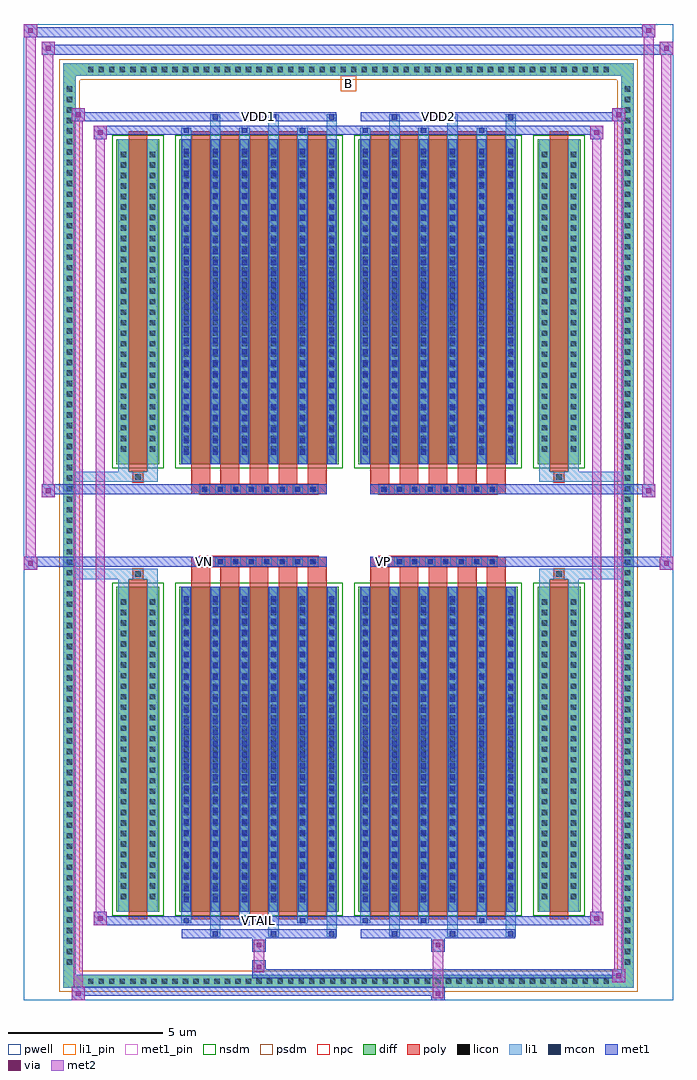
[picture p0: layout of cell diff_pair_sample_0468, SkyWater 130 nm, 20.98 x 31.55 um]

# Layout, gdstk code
import gdstk
lib = gdstk.Library(unit=1e-6, precision=5e-09)
def R(c, l, rs):  # rectangles x0, y0, x1, y1
    for r in rs: c.add(gdstk.rectangle(r[:2], r[2:], *l))
def A(c, l, x, y, w, h, nx, ny, dx, dy):  # array of equal rectangles
    R(c, l, [(x+i*dx, y+j*dy, x+i*dx+w, y+j*dy+h) for i in range(nx) for j in range(ny)])
def P(c, l, *ps):  # polygons
    for p in ps: c.add(gdstk.Polygon(p, *l))
pwell = (64, 44)
diff = (65, 20)
poly = (66, 20)
licon = (66, 44)
li1_pin = (67, 16)
li1 = (67, 20)
mcon = (67, 44)
met1_pin = (68, 16)
met1 = (68, 20)
via = (68, 44)
met2 = (69, 20)
nsdm = (93, 44)
psdm = (94, 20)
npc = (95, 20)

diff_pair_sample_0468 = lib.new_cell('diff_pair_sample_0468')
R(diff_pair_sample_0468, pwell, [(-10.49,-15.34,10.49,16.21), (-7.81,-13.53,-0.01,-0.805), (0.01,-13.53,7.81,-0.805), (-7.81,0.805,-0.01,13.53), (0.01,0.805,7.81,13.53)])
A(diff_pair_sample_0468, diff, -8.535, -14.94, 0.41, 0.41, 50, 2, 0.34, 29.47)
A(diff_pair_sample_0468, diff, -9.22, -14.315, 0.41, 0.41, 1, 84, 0, 0.34)
A(diff_pair_sample_0468, diff, 8.81, -14.315, 0.41, 0.41, 1, 84, 0, 0.34)
R(diff_pair_sample_0468, diff, [(-8.535,-14.94,8.535,-14.53), (-9.22,-14.315,-8.81,14.315), (8.81,-14.315,9.22,14.315), (-7.5,-12.485,-6.11,-1.985), (-5.47,-12.485,-0.32,-1.985), (0.32,-12.485,5.47,-1.985), (6.11,-12.485,7.5,-1.985), (-7.5,1.985,-6.11,12.485), (-5.47,1.985,-0.32,12.485), (0.32,1.985,5.47,12.485), (6.11,1.985,7.5,12.485), (-8.535,14.53,8.535,14.94)])
P(diff_pair_sample_0468, diff, [(9.22,14.94),(-9.22,14.94),(-9.22,-14.53),(-8.81,-14.53),(-8.81,14.53),(8.81,14.53),(8.81,-14.53),(-8.81,-14.53),(-9.22,-14.53),(-9.22,-14.94),(9.22,-14.94)])
A(diff_pair_sample_0468, poly, -5.08, -12.735, 0.61, 11, 5, 2, 0.94, 14.47)
A(diff_pair_sample_0468, poly, 0.71, -12.735, 0.61, 11, 5, 2, 0.94, 14.47)
A(diff_pair_sample_0468, poly, -5.08, -1.735, 0.61, 0.4, 5, 2, 0.94, 3.07)
A(diff_pair_sample_0468, poly, 0.71, -1.735, 0.61, 0.4, 5, 2, 0.94, 3.07)
A(diff_pair_sample_0468, poly, -4.81, -1.335, 0.33, 0.33, 8, 2, 0.5, 2.34)
A(diff_pair_sample_0468, poly, 0.98, -1.335, 0.33, 0.33, 8, 2, 0.5, 2.34)
R(diff_pair_sample_0468, poly, [(-7.11,-12.735,-6.5,-1.735), (6.5,-12.735,7.11,-1.735), (-6.97,-1.735,-6.64,-1.405), (-6.97,-1.735,-6.64,-1.405), (6.64,-1.735,6.97,-1.405), (6.64,-1.735,6.97,-1.405), (-5.08,-1.335,-0.71,-1.005), (0.71,-1.335,5.08,-1.005), (-5.08,1.005,-0.71,1.335), (0.71,1.005,5.08,1.335), (-6.97,1.405,-6.64,1.735), (-6.97,1.405,-6.64,1.735), (6.64,1.405,6.97,1.735), (6.64,1.405,6.97,1.735), (-7.11,1.735,-6.5,12.735), (6.5,1.735,7.11,12.735)])
A(diff_pair_sample_0468, licon, -8.415, -14.82, 0.17, 0.17, 50, 2, 0.34, 29.47)
A(diff_pair_sample_0468, licon, -9.1, -14.195, 0.17, 0.17, 1, 84, 0, 0.34)
A(diff_pair_sample_0468, licon, 8.93, -14.195, 0.17, 0.17, 1, 84, 0, 0.34)
A(diff_pair_sample_0468, licon, -7.36, -12.08, 0.17, 0.17, 1, 29, 0, 0.34)
A(diff_pair_sample_0468, licon, -6.42, -12.08, 0.17, 0.17, 1, 29, 0, 0.34)
A(diff_pair_sample_0468, licon, -5.33, -12.08, 0.17, 0.17, 6, 29, 0.94, 0.34)
A(diff_pair_sample_0468, licon, 0.46, -12.08, 0.17, 0.17, 6, 29, 0.94, 0.34)
A(diff_pair_sample_0468, licon, 6.25, -12.08, 0.17, 0.17, 1, 29, 0, 0.34)
A(diff_pair_sample_0468, licon, 7.19, -12.08, 0.17, 0.17, 1, 29, 0, 0.34)
A(diff_pair_sample_0468, licon, -4.73, -1.255, 0.17, 0.17, 8, 2, 0.5, 2.34)
A(diff_pair_sample_0468, licon, 1.06, -1.255, 0.17, 0.17, 8, 2, 0.5, 2.34)
A(diff_pair_sample_0468, licon, -7.36, 2.39, 0.17, 0.17, 1, 29, 0, 0.34)
A(diff_pair_sample_0468, licon, -6.42, 2.39, 0.17, 0.17, 1, 29, 0, 0.34)
A(diff_pair_sample_0468, licon, -5.33, 2.39, 0.17, 0.17, 6, 29, 0.94, 0.34)
A(diff_pair_sample_0468, licon, 0.46, 2.39, 0.17, 0.17, 6, 29, 0.94, 0.34)
A(diff_pair_sample_0468, licon, 6.25, 2.39, 0.17, 0.17, 1, 29, 0, 0.34)
A(diff_pair_sample_0468, licon, 7.19, 2.39, 0.17, 0.17, 1, 29, 0, 0.34)
R(diff_pair_sample_0468, licon, [(-6.89,-1.655,-6.72,-1.485), (6.72,-1.655,6.89,-1.485), (-6.89,1.485,-6.72,1.655), (6.72,1.485,6.89,1.655)])
R(diff_pair_sample_0468, li1_pin, [(-0.25,14.03,0.25,14.53)])
A(diff_pair_sample_0468, li1, -8.495, -14.9, 0.33, 0.33, 50, 2, 0.34, 29.47)
A(diff_pair_sample_0468, li1, -9.18, -14.275, 0.33, 0.33, 1, 84, 0, 0.34)
A(diff_pair_sample_0468, li1, 8.85, -14.275, 0.33, 0.33, 1, 84, 0, 0.34)
A(diff_pair_sample_0468, li1, -4.47, -13.29, 0.33, 0.805, 3, 2, 1.88, 25.775)
A(diff_pair_sample_0468, li1, -4.39, -13.29, 0.17, 0.17, 3, 2, 1.88, 26.41)
A(diff_pair_sample_0468, li1, 1.32, -13.29, 0.33, 0.805, 3, 2, 1.88, 25.775)
A(diff_pair_sample_0468, li1, 1.4, -13.29, 0.17, 0.17, 3, 2, 1.88, 26.41)
A(diff_pair_sample_0468, li1, -5.41, -12.86, 0.33, 0.375, 3, 2, 1.88, 25.345)
A(diff_pair_sample_0468, li1, -5.33, -12.86, 0.17, 0.17, 3, 2, 1.88, 25.55)
A(diff_pair_sample_0468, li1, 0.38, -12.86, 0.33, 0.375, 3, 2, 1.88, 25.345)
A(diff_pair_sample_0468, li1, 0.46, -12.86, 0.17, 0.17, 3, 2, 1.88, 25.55)
A(diff_pair_sample_0468, li1, -5.41, -12.485, 0.33, 10.5, 6, 2, 0.94, 14.47)
A(diff_pair_sample_0468, li1, 0.38, -12.485, 0.33, 10.5, 6, 2, 0.94, 14.47)
A(diff_pair_sample_0468, li1, -5.33, -12.18, 0.17, 0.17, 6, 28, 0.94, 0.36)
A(diff_pair_sample_0468, li1, -5.33, -12.18, 0.17, 9.89, 6, 2, 0.94, 14.47)
A(diff_pair_sample_0468, li1, 0.46, -12.18, 0.17, 0.17, 6, 28, 0.94, 0.36)
A(diff_pair_sample_0468, li1, 0.46, -12.18, 0.17, 9.89, 6, 2, 0.94, 14.47)
A(diff_pair_sample_0468, li1, -7.44, -12.16, 0.33, 0.33, 1, 29, 0, 0.34)
A(diff_pair_sample_0468, li1, -6.5, -12.16, 0.33, 0.33, 1, 29, 0, 0.34)
A(diff_pair_sample_0468, li1, -5.41, -12.16, 0.33, 0.33, 6, 29, 0.94, 0.34)
A(diff_pair_sample_0468, li1, 0.38, -12.16, 0.33, 0.33, 6, 29, 0.94, 0.34)
A(diff_pair_sample_0468, li1, 6.17, -12.16, 0.33, 0.33, 1, 29, 0, 0.34)
A(diff_pair_sample_0468, li1, 7.11, -12.16, 0.33, 0.33, 1, 29, 0, 0.34)
A(diff_pair_sample_0468, li1, -4.81, -1.335, 0.33, 0.33, 8, 2, 0.5, 2.34)
A(diff_pair_sample_0468, li1, 0.98, -1.335, 0.33, 0.33, 8, 2, 0.5, 2.34)
A(diff_pair_sample_0468, li1, -5.33, 2.29, 0.17, 0.17, 6, 28, 0.94, 0.36)
A(diff_pair_sample_0468, li1, 0.46, 2.29, 0.17, 0.17, 6, 28, 0.94, 0.36)
A(diff_pair_sample_0468, li1, -7.44, 2.31, 0.33, 0.33, 1, 29, 0, 0.34)
A(diff_pair_sample_0468, li1, -6.5, 2.31, 0.33, 0.33, 1, 29, 0, 0.34)
A(diff_pair_sample_0468, li1, -5.41, 2.31, 0.33, 0.33, 6, 29, 0.94, 0.34)
A(diff_pair_sample_0468, li1, 0.38, 2.31, 0.33, 0.33, 6, 29, 0.94, 0.34)
A(diff_pair_sample_0468, li1, 6.17, 2.31, 0.33, 0.33, 1, 29, 0, 0.34)
A(diff_pair_sample_0468, li1, 7.11, 2.31, 0.33, 0.33, 1, 29, 0, 0.34)
R(diff_pair_sample_0468, li1, [(-9.22,-14.94,-8.81,-14.53), (-9.22,-14.94,-8.81,-14.53), (-8.81,-14.94,8.81,-14.53), (8.81,-14.94,9.22,-14.53), (8.81,-14.94,9.22,-14.53), (-9.22,-14.53,-8.81,14.53), (8.81,-14.53,9.22,14.53), (-7.44,-12.485,-7.11,-1.985), (-6.5,-12.485,-6.17,-1.985), (6.17,-12.485,6.5,-1.985), (7.11,-12.485,7.44,-1.985), (-7.44,-1.985,-7.11,-1.405), (-6.5,-1.985,-6.17,-1.405), (6.17,-1.985,6.5,-1.405), (7.11,-1.985,7.44,-1.405), (-9.22,-1.735,-6.97,-1.405), (-7.44,-1.735,-6.97,-1.405), (-6.97,-1.735,-6.64,-1.405), (-6.64,-1.735,-6.17,-1.405), (6.17,-1.735,6.64,-1.405), (6.64,-1.735,6.97,-1.405), (6.64,-1.735,9.22,-1.405), (6.97,-1.735,7.44,-1.405), (-9.22,1.405,-6.97,1.735), (-7.44,1.405,-6.97,1.735), (-7.44,1.405,-7.11,1.985), (-6.97,1.405,-6.64,1.735), (-6.64,1.405,-6.17,1.735), (-6.5,1.405,-6.17,1.985), (6.17,1.405,6.64,1.735), (6.17,1.405,6.5,1.985), (6.64,1.405,6.97,1.735), (6.64,1.405,9.22,1.735), (6.97,1.405,7.44,1.735), (7.11,1.405,7.44,1.985), (-7.44,1.985,-7.11,12.485), (-6.5,1.985,-6.17,12.485), (6.17,1.985,6.5,12.485), (7.11,1.985,7.44,12.485), (-9.22,14.53,-8.81,14.94), (-9.22,14.53,-8.81,14.94), (-8.81,14.53,8.81,14.94), (8.81,14.53,9.22,14.94), (8.81,14.53,9.22,14.94)])
A(diff_pair_sample_0468, mcon, -4.39, -13.29, 0.17, 0.17, 3, 2, 1.88, 26.41)
A(diff_pair_sample_0468, mcon, 1.4, -13.29, 0.17, 0.17, 3, 2, 1.88, 26.41)
A(diff_pair_sample_0468, mcon, -5.33, -12.86, 0.17, 0.17, 3, 2, 1.88, 25.55)
A(diff_pair_sample_0468, mcon, 0.46, -12.86, 0.17, 0.17, 3, 2, 1.88, 25.55)
A(diff_pair_sample_0468, mcon, -5.33, -12.18, 0.17, 0.17, 6, 28, 0.94, 0.36)
A(diff_pair_sample_0468, mcon, 0.46, -12.18, 0.17, 0.17, 6, 28, 0.94, 0.36)
A(diff_pair_sample_0468, mcon, -4.73, -1.255, 0.17, 0.17, 8, 2, 0.5, 2.34)
A(diff_pair_sample_0468, mcon, 1.06, -1.255, 0.17, 0.17, 8, 2, 0.5, 2.34)
A(diff_pair_sample_0468, mcon, -5.33, 2.29, 0.17, 0.17, 6, 28, 0.94, 0.36)
A(diff_pair_sample_0468, mcon, 0.46, 2.29, 0.17, 0.17, 6, 28, 0.94, 0.36)
R(diff_pair_sample_0468, met1_pin, [(-3.03,-12.9,-2.76,-12.63), (-4.78,-1.295,-4.51,-1.025), (1.01,-1.295,1.28,-1.025), (-3.03,13.08,-2.76,13.35), (2.76,13.08,3.03,13.35)])
A(diff_pair_sample_0468, met1, -4.45, -13.35, 0.29, 0.29, 3, 2, 1.88, 26.41)
A(diff_pair_sample_0468, met1, 1.34, -13.35, 0.29, 0.29, 3, 2, 1.88, 26.41)
A(diff_pair_sample_0468, met1, -5.39, -12.92, 0.29, 0.29, 3, 2, 1.88, 25.55)
A(diff_pair_sample_0468, met1, 0.4, -12.92, 0.29, 0.29, 3, 2, 1.88, 25.55)
A(diff_pair_sample_0468, met1, -5.39, -12.485, 0.29, 10.5, 6, 2, 0.94, 14.47)
A(diff_pair_sample_0468, met1, 0.4, -12.485, 0.29, 10.5, 6, 2, 0.94, 14.47)
A(diff_pair_sample_0468, met1, -5.39, -12.24, 0.29, 0.29, 6, 28, 0.94, 0.36)
A(diff_pair_sample_0468, met1, 0.4, -12.24, 0.29, 0.29, 6, 28, 0.94, 0.36)
A(diff_pair_sample_0468, met1, -4.79, -1.315, 0.29, 0.29, 8, 2, 0.5, 2.34)
A(diff_pair_sample_0468, met1, 1, -1.315, 0.29, 0.29, 8, 2, 0.5, 2.34)
A(diff_pair_sample_0468, met1, -5.39, 2.23, 0.29, 0.29, 6, 28, 0.94, 0.36)
A(diff_pair_sample_0468, met1, 0.4, 2.23, 0.29, 0.29, 6, 28, 0.94, 0.36)
R(diff_pair_sample_0468, met1, [(-8.95,-15.34,-8.52,-14.91), (2.68,-15.34,3.11,-14.91), (-8.95,-15.2,3.11,-14.91), (8.52,-14.77,8.95,-14.34), (-3.11,-14.63,8.95,-14.34), (-3.11,-14.49,-2.68,-14.06), (-3.11,-13.78,-2.68,-13.35), (2.68,-13.78,3.11,-13.35), (-5.39,-13.35,-0.4,-13.06), (0.4,-13.35,5.39,-13.06), (-8.24,-12.92,-7.81,-12.49), (-8.24,-12.92,-5.39,-12.63), (-5.39,-12.92,-0.4,-12.63), (-0.4,-12.92,0.4,-12.63), (0.4,-12.92,5.39,-12.63), (5.39,-12.92,8.24,-12.63), (7.81,-12.92,8.24,-12.49), (-10.49,-1.435,-10.06,-1.005), (10.06,-1.435,10.49,-1.005), (-10.49,-1.335,-0.71,-1.005), (-5.08,-1.335,-0.71,-1.005), (0.71,-1.335,5.08,-1.005), (0.71,-1.335,10.49,-1.005), (-9.92,0.905,-9.49,1.335), (9.49,0.905,9.92,1.335), (-9.92,1.005,-5.08,1.335), (-5.08,1.005,-0.71,1.335), (0.71,1.005,5.08,1.335), (5.08,1.005,9.92,1.335), (-8.24,12.49,-7.81,12.92), (7.81,12.49,8.24,12.92), (-8.24,12.63,-5.39,12.92), (-5.39,12.63,-0.4,12.92), (-0.4,12.63,0.4,12.92), (0.4,12.63,5.39,12.92), (5.39,12.63,8.24,12.92), (-8.95,13.06,-8.52,13.49), (-8.95,13.06,-5.39,13.35), (-5.39,13.06,-0.4,13.35), (0.4,13.06,5.39,13.35), (5.39,13.06,8.95,13.35), (8.52,13.06,8.95,13.49), (-9.92,15.21,-9.49,15.64), (-9.92,15.21,-7.81,15.54), (-7.81,15.21,7.81,15.54), (7.81,15.21,10.49,15.54), (10.06,15.21,10.49,15.64), (-10.49,15.78,-10.06,16.21), (-10.49,15.78,-7.81,16.11), (-7.81,15.78,7.81,16.11), (7.81,15.78,9.92,16.11), (9.49,15.78,9.92,16.21)])
R(diff_pair_sample_0468, via, [(-8.81,-15.2,-8.66,-15.05), (2.82,-15.2,2.97,-15.05), (8.66,-14.63,8.81,-14.48), (-2.97,-14.35,-2.82,-14.2), (-2.97,-13.64,-2.82,-13.49), (2.82,-13.64,2.97,-13.49), (-8.1,-12.78,-7.95,-12.63), (7.95,-12.78,8.1,-12.63), (-10.35,-1.295,-10.2,-1.145), (10.2,-1.295,10.35,-1.145), (-9.78,1.045,-9.63,1.195), (9.63,1.045,9.78,1.195), (-8.1,12.63,-7.95,12.78), (7.95,12.63,8.1,12.78), (-8.81,13.2,-8.66,13.35), (8.66,13.2,8.81,13.35), (-9.78,15.35,-9.63,15.5), (10.2,15.35,10.35,15.5), (-10.35,15.92,-10.2,16.07), (9.63,15.92,9.78,16.07)])
R(diff_pair_sample_0468, met2, [(-8.95,-15.34,-8.52,-14.91), (-8.88,-15.34,-8.59,13.49), (-8.59,-15.34,-8.52,-14.91), (-8.9,-15.29,-8.57,-14.96), (2.73,-15.29,3.06,-14.96), (2.73,-14.96,3.06,-13.73), (8.52,-14.77,8.95,-14.34), (8.59,-14.77,8.88,13.49), (8.88,-14.77,8.95,-14.34), (8.57,-14.72,8.9,-14.39), (-3.06,-14.44,-2.73,-14.11), (-3.06,-14.11,-2.73,-13.73), (-3.06,-13.73,-2.73,-13.4), (2.73,-13.73,3.06,-13.4), (-8.24,-12.92,-7.81,-12.49), (-8.17,-12.92,-7.88,12.92), (-7.88,-12.92,-7.81,-12.49), (7.81,-12.92,8.24,-12.49), (7.88,-12.92,8.17,12.92), (8.17,-12.92,8.24,-12.49), (-8.19,-12.87,-7.86,-12.54), (7.86,-12.87,8.19,-12.54), (-10.49,-1.435,-10.06,-1.005), (-10.44,-1.435,-10.11,16.21), (-10.11,-1.435,-10.06,-1.005), (10.06,-1.435,10.49,-1.005), (10.11,-1.435,10.44,15.64), (10.44,-1.435,10.49,-1.005), (-10.44,-1.385,-10.11,-1.055), (10.11,-1.385,10.44,-1.055), (-9.92,0.905,-9.49,1.335), (-9.87,0.905,-9.54,15.64), (-9.54,0.905,-9.49,1.335), (9.49,0.905,9.92,1.335), (9.54,0.905,9.87,16.21), (9.87,0.905,9.92,1.335), (-9.87,0.955,-9.54,1.285), (9.54,0.955,9.87,1.285), (-8.24,12.49,-7.81,12.92), (-7.88,12.49,-7.81,12.92), (7.81,12.49,8.24,12.92), (8.17,12.49,8.24,12.92), (-8.19,12.54,-7.86,12.87), (7.86,12.54,8.19,12.87), (-8.95,13.06,-8.52,13.49), (-8.59,13.06,-8.52,13.49), (8.52,13.06,8.95,13.49), (8.88,13.06,8.95,13.49), (-8.9,13.11,-8.57,13.44), (8.57,13.11,8.9,13.44), (-9.92,15.21,-9.49,15.64), (-9.54,15.21,-9.49,15.64), (10.06,15.21,10.49,15.64), (10.44,15.21,10.49,15.64), (-9.87,15.26,-9.54,15.59), (10.11,15.26,10.44,15.59), (-10.49,15.78,-10.06,16.21), (-10.11,15.78,-10.06,16.21), (9.49,15.78,9.92,16.21), (9.87,15.78,9.92,16.21), (-10.44,15.83,-10.11,16.16), (9.54,15.83,9.87,16.16)])
R(diff_pair_sample_0468, nsdm, [(-7.63,-12.615,-5.98,-1.855), (-5.6,-12.615,-0.19,-1.855), (0.19,-12.615,5.6,-1.855), (5.98,-12.615,7.63,-1.855), (-7.63,1.855,-5.98,12.615), (-5.6,1.855,-0.19,12.615), (0.19,1.855,5.6,12.615), (5.98,1.855,7.63,12.615)])
P(diff_pair_sample_0468, psdm, [(9.35,15.07),(-9.35,15.07),(-9.35,-14.4),(-8.68,-14.4),(-8.68,14.4),(8.68,14.4),(8.68,-14.4),(-8.68,-14.4),(-9.35,-14.4),(-9.35,-15.07),(9.35,-15.07)])
A(diff_pair_sample_0468, npc, -4.83, -1.355, 0.37, 0.37, 8, 2, 0.5, 2.34)
A(diff_pair_sample_0468, npc, 0.96, -1.355, 0.37, 0.37, 8, 2, 0.5, 2.34)
R(diff_pair_sample_0468, npc, [(-6.99,-1.755,-6.62,-1.385), (6.62,-1.755,6.99,-1.385), (-4.83,-1.355,-3.96,-0.985), (-4.83,-1.355,-3.96,-0.985), (-4.33,-1.355,-3.46,-0.985), (-4.33,-1.355,-3.46,-0.985), (-3.83,-1.355,-2.96,-0.985), (-3.83,-1.355,-2.96,-0.985), (-3.33,-1.355,-2.46,-0.985), (-3.33,-1.355,-2.46,-0.985), (-2.83,-1.355,-1.96,-0.985), (-2.83,-1.355,-1.96,-0.985), (-2.33,-1.355,-1.46,-0.985), (-2.33,-1.355,-1.46,-0.985), (-1.83,-1.355,-0.96,-0.985), (-1.83,-1.355,-0.96,-0.985), (0.96,-1.355,1.83,-0.985), (0.96,-1.355,1.83,-0.985), (1.46,-1.355,2.33,-0.985), (1.46,-1.355,2.33,-0.985), (1.96,-1.355,2.83,-0.985), (1.96,-1.355,2.83,-0.985), (2.46,-1.355,3.33,-0.985), (2.46,-1.355,3.33,-0.985), (2.96,-1.355,3.83,-0.985), (2.96,-1.355,3.83,-0.985), (3.46,-1.355,4.33,-0.985), (3.46,-1.355,4.33,-0.985), (3.96,-1.355,4.83,-0.985), (3.96,-1.355,4.83,-0.985), (-4.83,0.985,-3.96,1.355), (-4.83,0.985,-3.96,1.355), (-4.33,0.985,-3.46,1.355), (-4.33,0.985,-3.46,1.355), (-3.83,0.985,-2.96,1.355), (-3.83,0.985,-2.96,1.355), (-3.33,0.985,-2.46,1.355), (-3.33,0.985,-2.46,1.355), (-2.83,0.985,-1.96,1.355), (-2.83,0.985,-1.96,1.355), (-2.33,0.985,-1.46,1.355), (-2.33,0.985,-1.46,1.355), (-1.83,0.985,-0.96,1.355), (-1.83,0.985,-0.96,1.355), (0.96,0.985,1.83,1.355), (0.96,0.985,1.83,1.355), (1.46,0.985,2.33,1.355), (1.46,0.985,2.33,1.355), (1.96,0.985,2.83,1.355), (1.96,0.985,2.83,1.355), (2.46,0.985,3.33,1.355), (2.46,0.985,3.33,1.355), (2.96,0.985,3.83,1.355), (2.96,0.985,3.83,1.355), (3.46,0.985,4.33,1.355), (3.46,0.985,4.33,1.355), (3.96,0.985,4.83,1.355), (3.96,0.985,4.83,1.355), (-6.99,1.385,-6.62,1.755), (6.62,1.385,6.99,1.755)])
diff_pair_sample_0468.add(gdstk.Label('VTAIL', (-2.895,-12.765), layer=68, texttype=5))
diff_pair_sample_0468.add(gdstk.Label('VN', (-4.645,-1.16), layer=68, texttype=5))
diff_pair_sample_0468.add(gdstk.Label('VP', (1.145,-1.16), layer=68, texttype=5))
diff_pair_sample_0468.add(gdstk.Label('B', (0,14.28), layer=67, texttype=5))
diff_pair_sample_0468.add(gdstk.Label('VDD2', (2.895,13.215), layer=68, texttype=5))
diff_pair_sample_0468.add(gdstk.Label('VDD1', (-2.895,13.215), layer=68, texttype=5))

lib.write_gds('diff_pair_sample_0468.gds')
